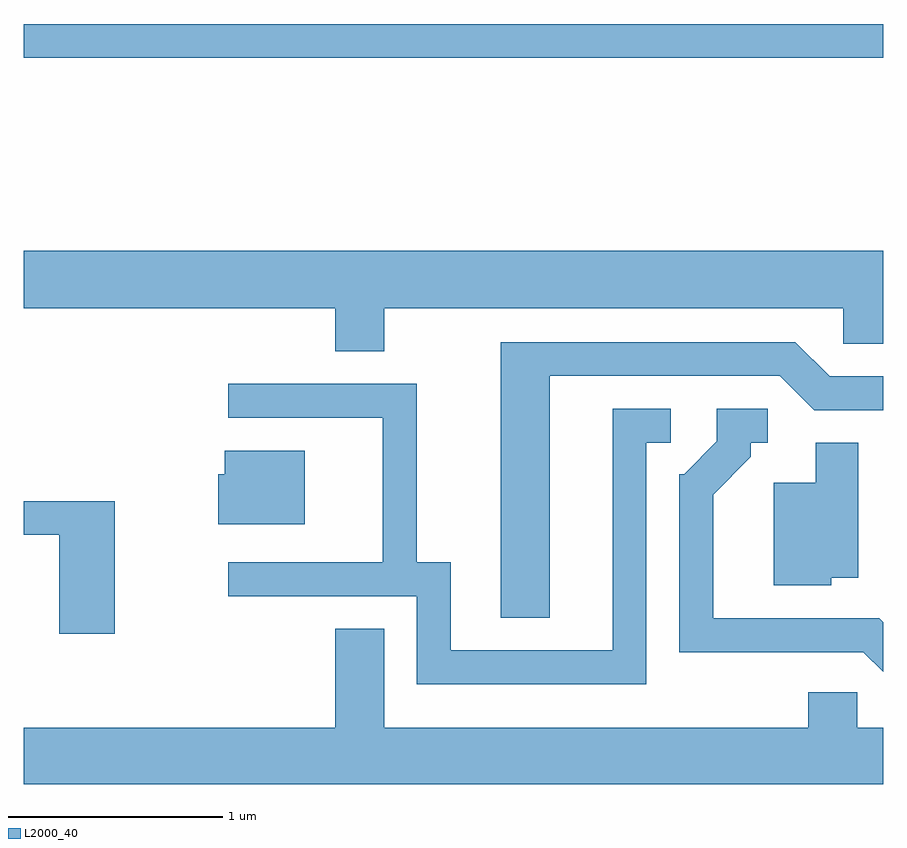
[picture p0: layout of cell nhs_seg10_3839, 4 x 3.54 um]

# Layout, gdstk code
import gdstk
lib = gdstk.Library(unit=1e-6, precision=1e-09)
def R(c, l, rs):  # rectangles x0, y0, x1, y1
    for r in rs: c.add(gdstk.rectangle(r[:2], r[2:], *l))
def P(c, l, *ps):  # polygons
    for p in ps: c.add(gdstk.Polygon(p, *l))
L2000_40 = (2000, 40)

nhs_seg10_3839 = lib.new_cell('nhs_seg10_3839')
R(nhs_seg10_3839, L2000_40, [(297.611,2183.901,301.611,2184.059)])
P(nhs_seg10_3839, L2000_40, [(299.289,2182.736),(301.426,2182.736),(301.426,2182.571),(301.611,2182.571),(301.611,2183.004),(297.611,2183.004),(297.611,2182.736),(299.061,2182.736),(299.061,2182.536),(299.289,2182.536)],
  [(300.059,2182.421),(301.129,2182.421),(301.289,2182.261),(301.611,2182.261),(301.611,2182.419),(301.362,2182.419),(301.202,2182.579),(299.831,2182.579),(299.831,2181.296),(300.059,2181.296)],
  [(300.509,2182.111),(300.623,2182.111),(300.623,2182.269),(300.351,2182.269),(300.351,2181.144),(299.599,2181.144),(299.599,2181.554),(299.439,2181.554),(299.439,2182.384),(298.563,2182.384),(298.563,2182.226),(299.281,2182.226),(299.281,2181.554),(298.563,2181.554),(298.563,2181.396),(299.441,2181.396),(299.441,2180.986),(300.509,2180.986)],
  [(301.611,2181.275),(301.592,2181.294),(300.819,2181.294),(300.819,2181.869),(300.994,2182.044),(300.994,2182.111),(301.073,2182.111),(301.073,2182.269),(300.836,2182.269),(300.836,2182.117),(300.684,2181.964),(300.661,2181.964),(300.661,2181.136),(301.519,2181.136),(301.611,2181.044)],
  [(301.369,2181.481),(301.494,2181.481),(301.494,2182.109),(301.296,2182.109),(301.296,2181.924),(301.101,2181.924),(301.101,2181.446),(301.369,2181.446)],
  [(298.919,2182.074),(298.546,2182.074),(298.546,2181.964),(298.516,2181.964),(298.516,2181.731),(298.919,2181.731)],
  [(298.034,2181.839),(297.611,2181.839),(297.611,2181.681),(297.776,2181.681),(297.776,2181.221),(298.034,2181.221)],
  [(301.611,2180.784),(301.489,2180.784),(301.489,2180.949),(301.261,2180.949),(301.261,2180.784),(299.289,2180.784),(299.289,2181.244),(299.061,2181.244),(299.061,2180.784),(297.611,2180.784),(297.611,2180.522),(301.611,2180.522)])

lib.write_gds('nhs_seg10_3839.gds')
